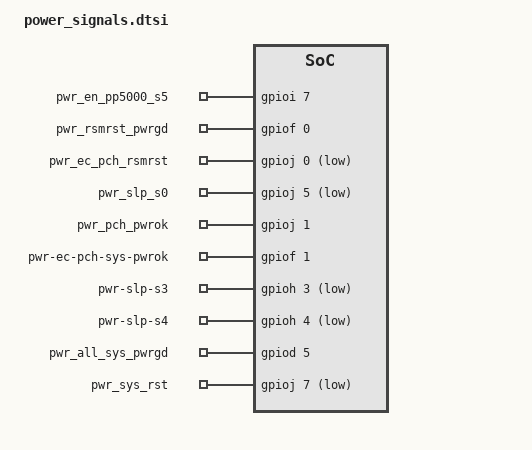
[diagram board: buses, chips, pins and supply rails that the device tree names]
/* Copyright 2026 The ChromiumOS Authors
 * Use of this source code is governed by a BSD-style license that can be
 * found in the LICENSE file.
 */

/ {
	chosen {
		intel-ap-pwrseq,espi = &espi0;
	};

	common-pwrseq {
		compatible = "intel,ap-pwrseq";

		sys-pwrok-delay = <3>;
		all-sys-pwrgd-timeout = <20>;
		sys-reset-delay = <60>;
	};

	pwr_en_pp5000_s5: pwr-en-pp5000-s5  {
		compatible = "intel,ap-pwrseq-gpio";
		dbg-label = "PP5000_S5 enable output to LS";
		enum-name = "PWR_EN_PP5000_A";
		gpios = <&gpioi 7 GPIO_ACTIVE_HIGH>;
		output;
	};
	pwr_rsmrst_pwrgd: rsmrst-pwrgd-ec-n {
		compatible = "intel,ap-pwrseq-gpio";
		dbg-label = "RSMRST power good from regulator";
		enum-name = "PWR_RSMRST_PWRGD";
		gpios = <&gpiof 0 (GPIO_ACTIVE_HIGH | GPIO_VOLTAGE_1P8)>;
		interrupt-flags = <GPIO_INT_EDGE_BOTH>;
	};
	pwr_ec_pch_rsmrst: pm-rsmrst-ec-n {
		compatible = "intel,ap-pwrseq-gpio";
		dbg-label = "RSMRST output to PCH";
		enum-name = "PWR_EC_PCH_RSMRST";
		gpios = <&gpioj 0 GPIO_ACTIVE_LOW>;
		reset-val = <1>;
		output;
	};
	pwr_slp_s0: pm-slp-s0-r-n {
		compatible = "intel,ap-pwrseq-gpio";
		dbg-label = "SLP_S0_L input from PCH";
		enum-name = "PWR_SLP_S0";
		gpios = <&gpioj 5 (GPIO_ACTIVE_LOW | GPIO_VOLTAGE_1P8)>;
		interrupt-flags = <GPIO_INT_EDGE_BOTH>;
	};
	pwr_pch_pwrok: ec-pm-pch-pwrok {
		compatible = "intel,ap-pwrseq-gpio";
		dbg-label = "PCH_PWROK output to PCH";
		enum-name = "PWR_PCH_PWROK";
		gpios = <&gpioj 1 GPIO_ACTIVE_HIGH>;
		output;
	};
	pwr-ec-pch-sys-pwrok {
		compatible = "intel,ap-pwrseq-gpio";
		dbg-label = "SYS_PWROK output to PCH";
		enum-name = "PWR_EC_PCH_SYS_PWROK";
                gpios = <&gpiof 1 GPIO_ACTIVE_HIGH>;
		output;
	};
	pwr-slp-s3 {
		compatible = "intel,ap-pwrseq-gpio";
		dbg-label = "SLP_S3_L input from PCH";
		enum-name = "PWR_SLP_S3";
                gpios = <&gpioh 3 (GPIO_ACTIVE_LOW | GPIO_VOLTAGE_1P8)>;
		interrupt-flags = <GPIO_INT_EDGE_BOTH>;
	};
	pwr-slp-s4 {
		compatible = "intel,ap-pwrseq-gpio";
		dbg-label = "SLP_S4_L input from PCH";
		enum-name = "PWR_SLP_S4";
                gpios = <&gpioh 4 (GPIO_ACTIVE_LOW | GPIO_VOLTAGE_1P8)>;
		interrupt-flags = <GPIO_INT_EDGE_BOTH>;
	};
	pwr-slp-s5 {
		compatible = "intel,ap-pwrseq-vw";
		dbg-label = "SLP_S5 virtual wire input from PCH";
		enum-name = "PWR_SLP_S5";
		virtual-wire = "ESPI_VWIRE_SIGNAL_SLP_S5";
		reset-val = <1>;
		vw-invert;
	};
	pwr_all_sys_pwrgd: all_sys_pwrgd {
		compatible = "intel,ap-pwrseq-gpio";
		dbg-label = "all power good";
		enum-name = "PWR_ALL_SYS_PWRGD";
		gpios = <&gpiod 5 (GPIO_ACTIVE_HIGH | GPIO_VOLTAGE_1P8)>;
		interrupt-flags = <GPIO_INT_EDGE_BOTH>;
	};
	pwr_sys_rst: pwr-sys-rst-l {
		compatible = "intel,ap-pwrseq-gpio";
		dbg-label = "SYS_RESET# output to PCH";
		enum-name = "PWR_SYS_RST";
                gpios = <&gpioj 7 (GPIO_ACTIVE_LOW | GPIO_OPEN_DRAIN)>;
		output;
	};
	pwr_pltrst: pwr-pltrst {
		compatible = "intel,ap-pwrseq-vw";
		dbg-label = "PLTRST virtual wire input from PCH";
		enum-name = "PWR_PLTRST";
		virtual-wire = "ESPI_VWIRE_SIGNAL_PLTRST";
		reset-val = <1>;
		vw-invert;
	};
	ap-power {
		compatible = "ap-pwrseq-sub-states";
		chipset = "S0ix";
	};
};

/*
 * Because the power signals directly reference the GPIOs,
 * the correspinding named-gpios need to have no-auto-init set.
 */
&gpio_en_s5_rails {
	no-auto-init;
};
&gpio_pg_pp1250_soc_s5_od {
	no-auto-init;
};
&gpio_ec_soc_rsmrst_l {
	no-auto-init;
};
&gpio_slp_s4_l {
	no-auto-init;
};
&gpio_slp_s3_l {
	no-auto-init;
};
&gpio_sys_slp_s0ix_l {
	no-auto-init;
};
&gpio_all_sys_pwrgd {
	no-auto-init;
};
&gpio_ec_plt_pwrok {
	no-auto-init;
};
&gpio_ec_soc_sys_pwrok {
	no-auto-init;
};
&gpio_sys_rst_odl {
	no-auto-init;
};
